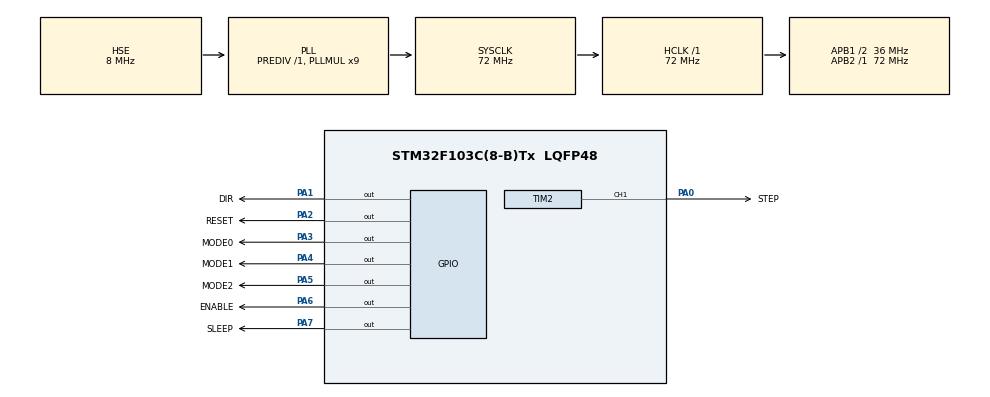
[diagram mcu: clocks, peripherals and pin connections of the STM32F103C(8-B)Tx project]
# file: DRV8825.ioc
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Mcu.Family=STM32F1
Mcu.Name=STM32F103C(8-B)Tx
Mcu.Package=LQFP48
NVIC.PriorityGroup=NVIC_PRIORITYGROUP_4
NVIC.TIM2_IRQn=true\:0\:0\:false\:false\:true\:true\:true\:true
PA0-WKUP.GPIO_Label=STEP
PA0-WKUP.Signal=S_TIM2_CH1_ETR
PA1.GPIO_Label=DIR
PA1.Signal=GPIO_Output
PA13.Mode=Serial_Wire
PA13.Signal=SYS_JTMS-SWDIO
PA14.Mode=Serial_Wire
PA14.Signal=SYS_JTCK-SWCLK
PA2.GPIO_Label=RESET
PA2.Signal=GPIO_Output
PA3.GPIO_Label=MODE0
PA3.Signal=GPIO_Output
PA4.GPIO_Label=MODE1
PA4.Signal=GPIO_Output
PA5.GPIO_Label=MODE2
PA5.Signal=GPIO_Output
PA6.GPIO_Label=ENABLE
PA6.Signal=GPIO_Output
PA7.GPIO_Label=SLEEP
PA7.Signal=GPIO_Output
PC14-OSC32_IN.Mode=LSE-External-Oscillator
PC14-OSC32_IN.Signal=RCC_OSC32_IN
PC15-OSC32_OUT.Mode=LSE-External-Oscillator
PC15-OSC32_OUT.Signal=RCC_OSC32_OUT
PD0-OSC_IN.Mode=HSE-External-Oscillator
PD0-OSC_IN.Signal=RCC_OSC_IN
PD1-OSC_OUT.Mode=HSE-External-Oscillator
PD1-OSC_OUT.Signal=RCC_OSC_OUT
ProjectManager.HeapSize=0x200
ProjectManager.StackSize=0x400
ProjectManager.TargetToolchain=STM32CubeIDE
RCC.AHBFreq_Value=72000000
RCC.APB1CLKDivider=RCC_HCLK_DIV2
RCC.APB1Freq_Value=36000000
RCC.APB1TimFreq_Value=72000000
RCC.APB2Freq_Value=72000000
RCC.APB2TimFreq_Value=72000000
RCC.HCLKFreq_Value=72000000
RCC.PLLMUL=RCC_PLL_MUL9
RCC.PLLSourceVirtual=RCC_PLLSOURCE_HSE
RCC.SYSCLKFreq_VALUE=72000000
RCC.SYSCLKSource=RCC_SYSCLKSOURCE_PLLCLK
RCC.USBFreq_Value=72000000
SH.S_TIM2_CH1_ETR.0=TIM2_CH1,PWM Generation1 CH1
TIM2.AutoReloadPreload=TIM_AUTORELOAD_PRELOAD_ENABLE
TIM2.Channel-PWM\ Generation1\ CH1=TIM_CHANNEL_1
TIM2.Period=1000-1
TIM2.Prescaler=72-1
VP_TIM2_VS_ClockSourceINT.Mode=Internal
board=custom

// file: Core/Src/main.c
/* USER CODE BEGIN Header */
/**
  ******************************************************************************
  * @file           : main.c
  * @brief          : Main program body
  ******************************************************************************
  * @attention
  *
  * Copyright (c) 2024 STMicroelectronics.
  * All rights reserved.
  *
  * This software is licensed under terms that can be found in the LICENSE file
  * in the root directory of this software component.
  * If no LICENSE file comes with this software, it is provided AS-IS.
  *
  ******************************************************************************
  */
/* USER CODE END Header */
#include "main.h"

/* USER CODE BEGIN Includes */
#include "DRV8825.h"
/* USER CODE END Includes */

/* USER CODE BEGIN PD */
#define pasos_maximos 200 //MOTOR EM-483
/* USER CODE END PD */

TIM_HandleTypeDef htim2;

/* USER CODE BEGIN PV */
DRV8825_t driver;
/* USER CODE END PV */

void SystemClock_Config(void);
static void MX_GPIO_Init(void);
static void MX_TIM2_Init(void);

int main(void)
{

  /* MCU Configuration--------------------------------------------------------*/

  /* Reset of all peripherals, Initializes the Flash interface and the Systick. */
  HAL_Init();

  /* Configure the system clock */
  SystemClock_Config();

  /* Initialize all configured peripherals */
  MX_GPIO_Init();
  MX_TIM2_Init();
  /* USER CODE BEGIN 2 */

  /*
   * Incializamos el driver
   */
  init_driver(&driver,pasos_maximos);
  /* USER CODE END 2 */

  /* Infinite loop */
  while (1)
  {

    /* USER CODE BEGIN 3 */
	move(&driver, 0, FULL_STEP);
	HAL_Delay(3000);
	stop(&driver);
	HAL_Delay(500);
	move(&driver, 1, FULL_STEP);
	HAL_Delay(3000);
	stop(&driver);
	HAL_Delay(500);

	move(&driver, 0, HALF_STEP);
	HAL_Delay(3000);
	stop(&driver);
	HAL_Delay(500);
	move(&driver, 1, HALF_STEP);
	HAL_Delay(3000);
	stop(&driver);
	HAL_Delay(500);

	move(&driver, 0, QUARTER_STEP);
	HAL_Delay(3000);
	stop(&driver);
	HAL_Delay(500);
	move(&driver, 1, QUARTER_STEP);
	HAL_Delay(3000);
	stop(&driver);
	HAL_Delay(500);

	move(&driver, 0, EIGHT_MICRO_STEP);
	HAL_Delay(3000);
	stop(&driver);
	HAL_Delay(500);
	move(&driver, 1, EIGHT_MICRO_STEP);
	HAL_Delay(3000);
	stop(&driver);
	HAL_Delay(500);

	move(&driver, 0, SIXTEEN_MICRO_STEP);
	HAL_Delay(3000);
	stop(&driver);
	HAL_Delay(500);
	move(&driver, 1, SIXTEEN_MICRO_STEP);
	HAL_Delay(3000);
	stop(&driver);
	HAL_Delay(500);

	move(&driver, 0, THIRTYTWO_MICRO_STEP);
	HAL_Delay(3000);
	stop(&driver);
	HAL_Delay(500);
	move(&driver, 1, THIRTYTWO_MICRO_STEP);
	HAL_Delay(3000);
	stop(&driver);
	HAL_Delay(500);

  }
  /* USER CODE END 3 */
}

void SystemClock_Config(void)
{
  RCC_OscInitTypeDef RCC_OscInitStruct = {0};
  RCC_ClkInitTypeDef RCC_ClkInitStruct = {0};

  /** Initializes the RCC Oscillators according to the specified parameters
  * in the RCC_OscInitTypeDef structure.
  */
  RCC_OscInitStruct.OscillatorType = RCC_OSCILLATORTYPE_HSE;
  RCC_OscInitStruct.HSEState = RCC_HSE_ON;
  RCC_OscInitStruct.HSEPredivValue = RCC_HSE_PREDIV_DIV1;
  RCC_OscInitStruct.HSIState = RCC_HSI_ON;
  RCC_OscInitStruct.PLL.PLLState = RCC_PLL_ON;
  RCC_OscInitStruct.PLL.PLLSource = RCC_PLLSOURCE_HSE;
  RCC_OscInitStruct.PLL.PLLMUL = RCC_PLL_MUL9;
  if (HAL_RCC_OscConfig(&RCC_OscInitStruct) != HAL_OK)
  {
    Error_Handler();
  }

  /** Initializes the CPU, AHB and APB buses clocks
  */
  RCC_ClkInitStruct.ClockType = RCC_CLOCKTYPE_HCLK|RCC_CLOCKTYPE_SYSCLK
                              |RCC_CLOCKTYPE_PCLK1|RCC_CLOCKTYPE_PCLK2;
  RCC_ClkInitStruct.SYSCLKSource = RCC_SYSCLKSOURCE_PLLCLK;
  RCC_ClkInitStruct.AHBCLKDivider = RCC_SYSCLK_DIV1;
  RCC_ClkInitStruct.APB1CLKDivider = RCC_HCLK_DIV2;
  RCC_ClkInitStruct.APB2CLKDivider = RCC_HCLK_DIV1;

  if (HAL_RCC_ClockConfig(&RCC_ClkInitStruct, FLASH_LATENCY_2) != HAL_OK)
  {
    Error_Handler();
  }
}

static void MX_TIM2_Init(void)
{

  TIM_ClockConfigTypeDef sClockSourceConfig = {0};
  TIM_MasterConfigTypeDef sMasterConfig = {0};
  TIM_OC_InitTypeDef sConfigOC = {0};

  htim2.Instance = TIM2;
  htim2.Init.Prescaler = 72-1;
  htim2.Init.CounterMode = TIM_COUNTERMODE_UP;
  htim2.Init.Period = 1000-1;
  htim2.Init.ClockDivision = TIM_CLOCKDIVISION_DIV1;
  htim2.Init.AutoReloadPreload = TIM_AUTORELOAD_PRELOAD_ENABLE;
  if (HAL_TIM_Base_Init(&htim2) != HAL_OK)
  {
    Error_Handler();
  }
  sClockSourceConfig.ClockSource = TIM_CLOCKSOURCE_INTERNAL;
  if (HAL_TIM_ConfigClockSource(&htim2, &sClockSourceConfig) != HAL_OK)
  {
    Error_Handler();
  }
  if (HAL_TIM_PWM_Init(&htim2) != HAL_OK)
  {
    Error_Handler();
  }
  sMasterConfig.MasterOutputTrigger = TIM_TRGO_RESET;
  sMasterConfig.MasterSlaveMode = TIM_MASTERSLAVEMODE_DISABLE;
  if (HAL_TIMEx_MasterConfigSynchronization(&htim2, &sMasterConfig) != HAL_OK)
  {
    Error_Handler();
  }
  sConfigOC.OCMode = TIM_OCMODE_PWM1;
  sConfigOC.Pulse = 0;
  sConfigOC.OCPolarity = TIM_OCPOLARITY_HIGH;
  sConfigOC.OCFastMode = TIM_OCFAST_DISABLE;
  if (HAL_TIM_PWM_ConfigChannel(&htim2, &sConfigOC, TIM_CHANNEL_1) != HAL_OK)
  {
    Error_Handler();
  }
  HAL_TIM_MspPostInit(&htim2);

}

static void MX_GPIO_Init(void)
{
  GPIO_InitTypeDef GPIO_InitStruct = {0};

  /* GPIO Ports Clock Enable */
  __HAL_RCC_GPIOC_CLK_ENABLE();
  __HAL_RCC_GPIOD_CLK_ENABLE();
  __HAL_RCC_GPIOA_CLK_ENABLE();

  /*Configure GPIO pin Output Level */
  HAL_GPIO_WritePin(GPIOA, DIR_Pin|RESET_Pin|MODE0_Pin|MODE1_Pin
                          |MODE2_Pin|ENABLE_Pin|SLEEP_Pin, GPIO_PIN_RESET);

  /*Configure GPIO pins : DIR_Pin RESET_Pin MODE0_Pin MODE1_Pin
                           MODE2_Pin ENABLE_Pin SLEEP_Pin */
  GPIO_InitStruct.Pin = DIR_Pin|RESET_Pin|MODE0_Pin|MODE1_Pin
                          |MODE2_Pin|ENABLE_Pin|SLEEP_Pin;
  GPIO_InitStruct.Mode = GPIO_MODE_OUTPUT_PP;
  GPIO_InitStruct.Pull = GPIO_NOPULL;
  GPIO_InitStruct.Speed = GPIO_SPEED_FREQ_LOW;
  HAL_GPIO_Init(GPIOA, &GPIO_InitStruct);

}

void Error_Handler(void)
{
  __disable_irq();
  while (1)
  {
  }
}
